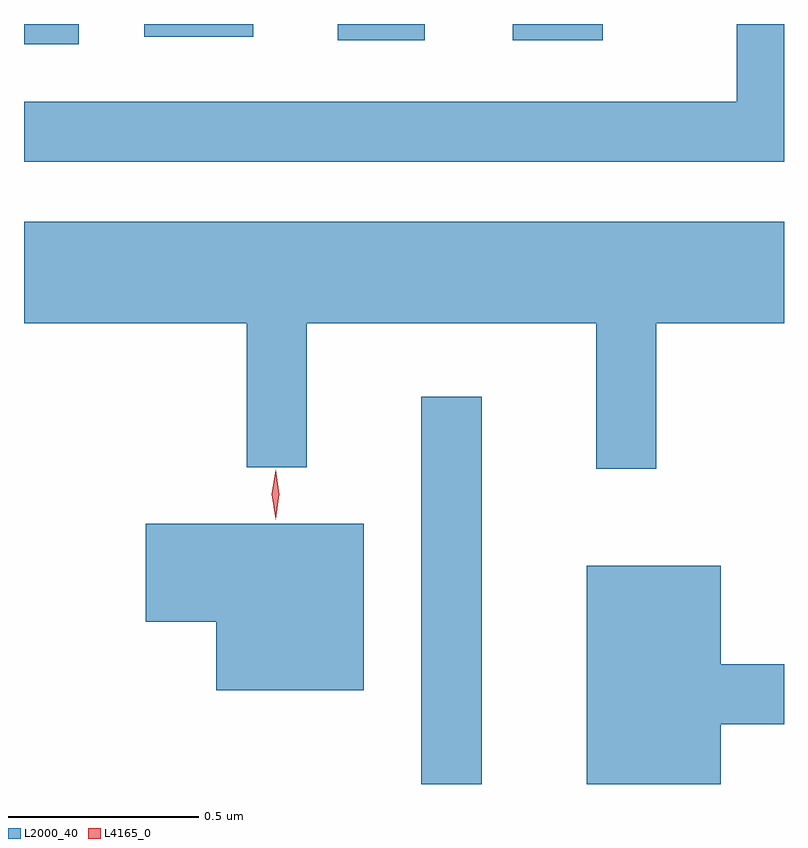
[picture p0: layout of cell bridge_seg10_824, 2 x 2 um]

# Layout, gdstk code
import gdstk
lib = gdstk.Library(unit=1e-6, precision=1e-09)
def R(c, l, rs):  # rectangles x0, y0, x1, y1
    for r in rs: c.add(gdstk.rectangle(r[:2], r[2:], *l))
def P(c, l, *ps):  # polygons
    for p in ps: c.add(gdstk.Polygon(p, *l))
L2000_40 = (2000, 40)
L4165_0 = (4165, 0)

bridge_seg10_824 = lib.new_cell('bridge_seg10_824')
R(bridge_seg10_824, L2000_40, [(432.646,2168.204,432.804,2169.223), (431.6,2170.151,431.744,2170.204), (432.426,2170.161,432.654,2170.204), (432.886,2170.161,433.123,2170.204), (431.916,2170.171,432.203,2170.204)])
P(bridge_seg10_824, L2000_40, [(433.6,2170.204),(433.476,2170.204),(433.476,2169.999),(431.6,2169.999),(431.6,2169.841),(433.6,2169.841)],
  [(433.264,2169.416),(433.6,2169.416),(433.6,2169.684),(431.6,2169.684),(431.6,2169.416),(432.186,2169.416),(432.186,2169.038),(432.344,2169.038),(432.344,2169.416),(433.106,2169.416),(433.106,2169.033),(433.264,2169.033)],
  [(432.494,2168.889),(431.921,2168.889),(431.921,2168.631),(432.106,2168.631),(432.106,2168.451),(432.494,2168.451)],
  [(433.434,2168.361),(433.6,2168.361),(433.6,2168.519),(433.434,2168.519),(433.434,2168.779),(433.081,2168.779),(433.081,2168.204),(433.434,2168.204)])
P(bridge_seg10_824, L4165_0, [(432.262,2168.9),(432.262,2168.901),(432.252,2168.966),(432.262,2169.031),(432.262,2169.031),(432.263,2169.031),(432.272,2168.966),(432.263,2168.901)])

lib.write_gds('bridge_seg10_824.gds')
